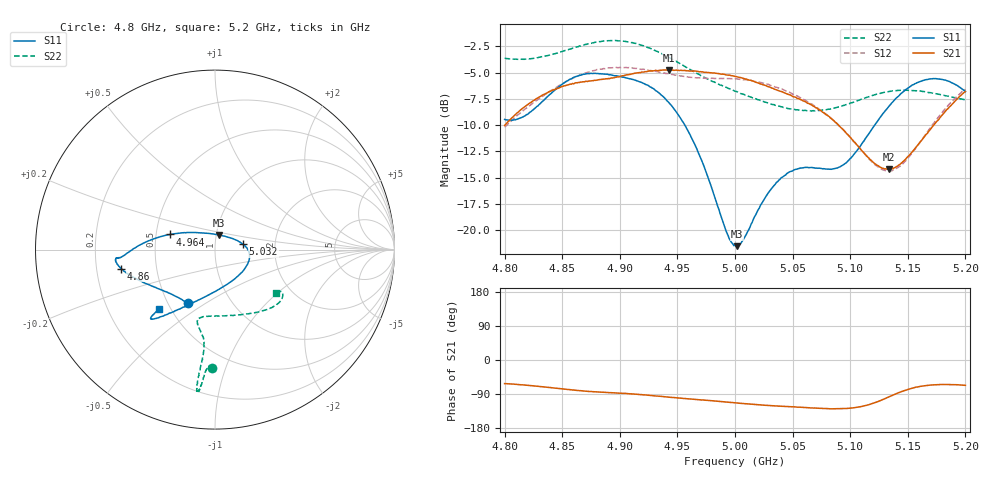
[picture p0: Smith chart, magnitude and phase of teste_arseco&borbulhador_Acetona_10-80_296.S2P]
! Network Analyzer HP8722D
! Hewlett-Packard
! Data name: Linha & Wilkinson
! Saver's name: Rodrigo Anjos
! Comments: Teste da utilização de aquisição
! continua pelo VNA HP8722D
! Time and date: 17/4/2025 16:49
!  Frequency  S11  S21  S12  S22
# HZ  S  MA R 50
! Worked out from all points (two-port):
!   401 points, 4.8 GHz to 5.2 GHz, reference 50 ohm
!   highest |S21| = -4.75 dB at 4.943 GHz (marker M1); lowest = -14.2 dB at 5.134 GHz (marker M2)
!   |S21| within 3 dB of the highest: 4.824 GHz to 5.061 GHz (236.7 MHz wide, 4.79 % of centre); 5.190691 GHz to end of sweep
!   lowest |S11| = -21.5 dB at 5.002 GHz (marker M3), VSWR 1.18, Z = 51.3 + j8.44 ohm
!   |S11| at or under -10 dB: 4.956 GHz to 5.121 GHz (164.8 MHz wide, 3.27 % of centre)
!   |S22| runs from -8.7 to -1.9 dB; largest |S21 - S12| = 0.87
!   S11 on the Smith chart (normalised r, x): 4.8 GHz: 0.62, -0.42; 4.86 GHz: 0.31, -0.09; 4.964 GHz: 0.59, +0.11; 5.032 GHz: 1.37, +0.09; 5.2 GHz: 0.43, -0.36
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4.8e9  0.3368 -117.0  0.3153 -62.3  0.3094 -176.5  0.659 -91.4
4.818e9  0.351 -136.0  0.3887 -66.3  0.3783 -176.2  0.6513 -93.0
4.86e9  0.5341 -168.6  0.4969 -79.3  0.5309 -179.5  0.7359 -95.4
4.867e9  0.5486 -171.2  0.5067 -81.4  0.5515 179.2  0.758 -95.8
4.899e9  0.5395 -175.2  0.5362 -87.5  0.5937 173.1  0.7953 -97.1
4.934e9  0.4503 179.1  0.5752 -95.7  0.5656 170.0  0.7009 -97.4
4.943e9  0.4024 175.0  0.579 -98.2  0.5533 170.1  0.663 -97.1
4.964e9  0.2637 161.4  0.5717 -103.6  0.533 171.9  0.5693 -96.4
4.975e9  0.1884 150.0  0.564 -106.3  0.5272 173.1  0.5283 -96.7
4.993e9  0.09707 111.5  0.548 -111.1  0.5267 174.2  0.4769 -98.9
5e9  0.08477 84.8  0.5394 -113.1  0.5253 174.3  0.4591 -100.2
5.002e9  0.08406 76.3  0.5367 -113.6  0.5244 174.2  0.4557 -100.6
5.032e9  0.1587 11.1  0.4743 -120.6  0.4866 172.9  0.397 -103.6
5.047e9  0.1892 -3.1  0.4414 -123.2  0.4548 172.5  0.3788 -99.6
5.067e9  0.1989 -24.3  0.3929 -126.3  0.3978 172.1  0.37 -88.3
5.096e9  0.2088 -74.8  0.2924 -128.0  0.2933 174.8  0.3953 -65.9
5.121e9  0.3143 -111.7  0.2081 -113.3  0.2065 -168.2  0.4409 -49.5
5.134e9  0.3907 -121.5  0.1953 -96.8  0.1914 -149.9  0.4574 -43.3
5.148e9  0.466 -127.7  0.2175 -79.6  0.2134 -129.8  0.4639 -38.2
5.168e9  0.5234 -132.2  0.2948 -66.8  0.2992 -113.2  0.4517 -33.5
5.184e9  0.5144 -133.4  0.3758 -64.5  0.3868 -108.8  0.4353 -32.4
5.2e9  0.4567 -133.3  0.4572 -66.9  0.4684 -109.0  0.4172 -35.0
